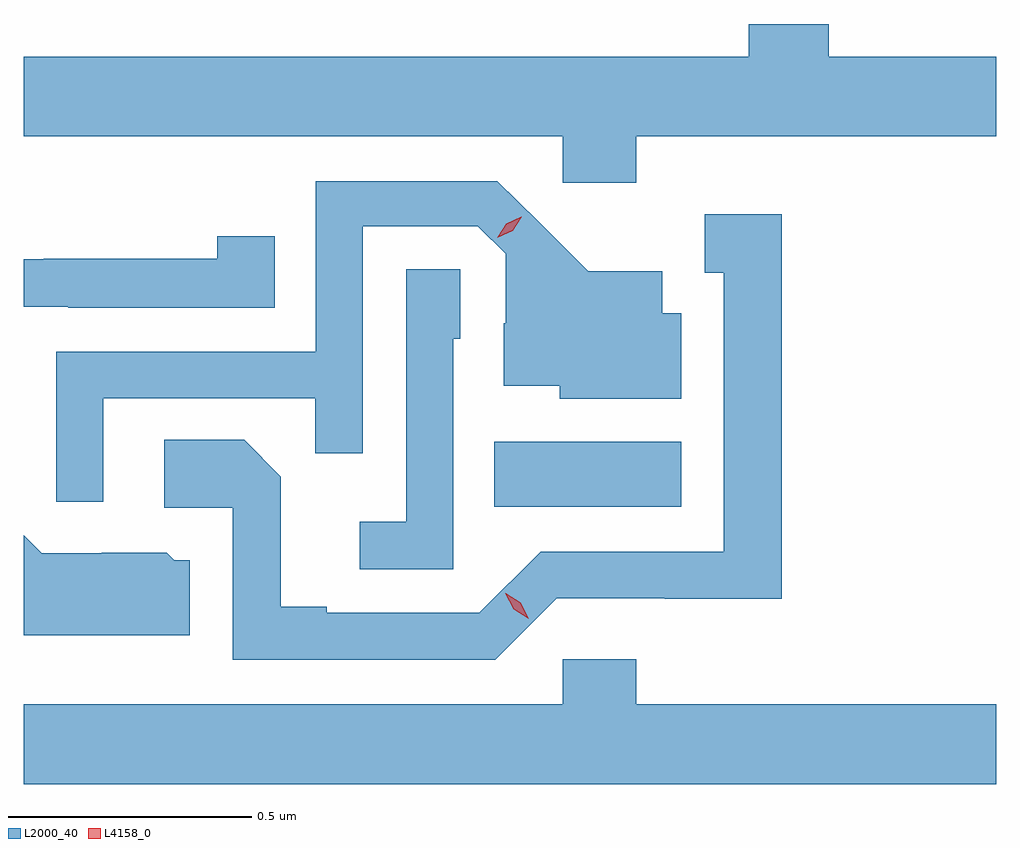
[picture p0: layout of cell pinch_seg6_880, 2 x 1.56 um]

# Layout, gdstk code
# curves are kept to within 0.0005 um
import gdstk
lib = gdstk.Library(unit=1e-6, precision=1e-09)
def R(c, l, rs):  # rectangles x0, y0, x1, y1
    for r in rs: c.add(gdstk.rectangle(r[:2], r[2:], *l))
def P(c, l, *ps):  # polygons
    for p in ps: c.add(gdstk.Polygon(p, *l))
L2000_40 = (2000, 40)
L4158_0 = (4158, 0)

pinch_seg6_880 = lib.new_cell('pinch_seg6_880')
R(pinch_seg6_880, L2000_40, [(156.904,971.882,157.288,972.016)])
P(pinch_seg6_880, L2000_40, [(157.196,972.644),(157.936,972.644),(157.936,972.808),(157.592,972.808),(157.592,972.875),(157.427,972.875),(157.427,972.808),(155.936,972.808),(155.936,972.644),(157.044,972.644),(157.044,972.549),(157.196,972.549)],
  [(156.099,972.105),(156.535,972.105),(156.535,971.992),(156.633,971.992),(156.633,972.459),(156.87,972.459),(156.927,972.402),(156.927,972.26),(156.923,972.26),(156.923,972.131),(157.038,972.131),(157.038,972.104),(157.288,972.104),(157.288,972.28),(157.249,972.28),(157.249,972.367),(157.097,972.367),(156.91,972.552),(156.537,972.552),(156.537,972.201),(156.003,972.201),(156.003,971.892),(156.099,971.892)],
  [(157.032,971.694),(157.254,971.694),(157.254,971.693),(157.495,971.693),(157.495,972.484),(157.337,972.484),(157.337,972.363),(157.376,972.363),(157.376,971.79),(156.999,971.79),(156.873,971.664),(156.559,971.664),(156.559,971.677),(156.465,971.677),(156.465,971.944),(156.389,972.02),(156.225,972.02),(156.225,971.88),(156.366,971.88),(156.366,971.568),(156.906,971.568)],
  [(156.452,972.439),(156.334,972.439),(156.334,972.392),(155.977,972.392),(155.977,972.391),(155.936,972.391),(155.936,972.294),(156.028,972.294),(156.028,972.291),(156.452,972.291)],
  [(156.819,972.228),(156.834,972.228),(156.834,972.371),(156.723,972.371),(156.723,971.851),(156.627,971.851),(156.627,971.754),(156.819,971.754)],
  [(156.277,971.772),(156.246,971.772),(156.23,971.788),(156.096,971.788),(156.096,971.787),(155.973,971.787),(155.936,971.824),(155.936,971.618),(156.277,971.618)],
  [(157.936,971.476),(157.196,971.476),(157.196,971.569),(157.044,971.569),(157.044,971.476),(155.936,971.476),(155.936,971.312),(157.936,971.312)])
P(pinch_seg6_880, L4158_0, [(156.975,971.652),(156.944,971.671),(156.926,971.704),(156.926,971.704),(156.927,971.704),(156.958,971.685),(156.975,971.652),(156.975,971.652)],
  [(156.91,972.435),(156.91,972.435),(156.928,972.464),(156.959,972.479),(156.96,972.479),(156.96,972.479),(156.942,972.45),(156.91,972.435)])

lib.write_gds('pinch_seg6_880.gds')
